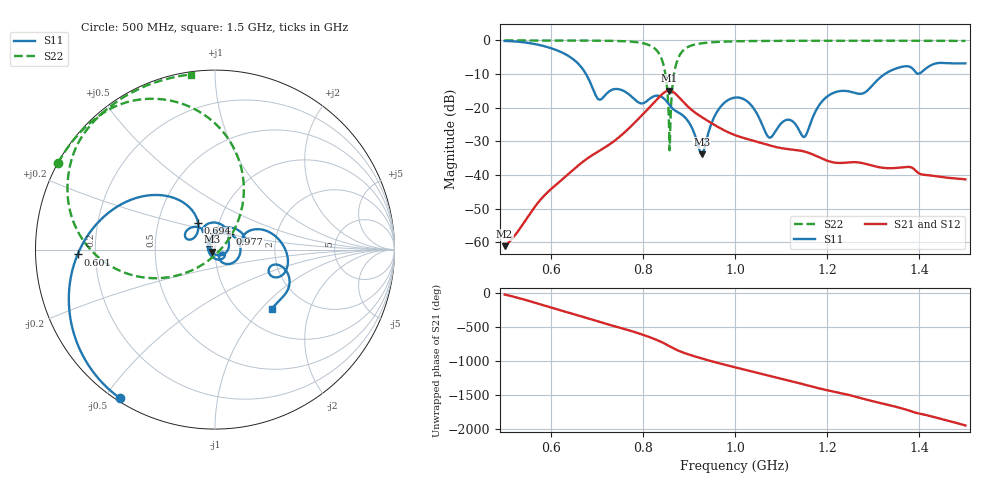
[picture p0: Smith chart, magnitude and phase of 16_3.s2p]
! TOUCHSTONE file generated by CST MICROWAVE STUDIO
! Date and time: Fri Oct  2 16:38:43 2020
! Project name: Scenario_1_Free_Space_out_of_line.cst
! Parameters = {Lambda=346.42; Step_1=17.321; dy1=87.525; dx1=520; L_HA=400; MT=2.54; Rad_Dielectric=30; Rad_Lower=7.3; Rad_Upper=30; a_HA=580; a_WG=246; b_HA=500; b_WG=121; c_HA=0; c_WG=187; d_feed=85; h_feed=15; h_lower=18; h_upper=40}
! Header version: 2018
! Port assignment regex: !\s*Touchstone port\s*([0-9]+)\s*=\s*(CST MWS port|CST DS port)\s*([0-9]+|Zmin|Zmax)\s*\(\"(.*)\"\)(\s*mode\s*([0-9]+))?.*
! Touchstone port assignment:
! Touchstone port 1 = CST MWS port 1 ("")
! Touchstone port 2 = CST MWS port 2 ("")
# GHz S DB R 50
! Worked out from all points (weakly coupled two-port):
!   1003 points, 500 MHz to 1.5 GHz, reference 50 ohm
!   highest |S21| = -14.90 dB at 857 MHz (marker M1); lowest = -61.1 dB at 500 MHz (marker M2)
!   lowest |S11| = -33.9 dB at 928 MHz (marker M3), VSWR 1.04, Z = 48.4 - j1.13 ohm
!   |S11| at or under -10 dB: 676.7 MHz to 1.325 GHz (648.3 MHz wide, 64.8 % of centre)
!   |S22| runs from -32.6 to 0.0 dB; largest |S21 - S12| = 2.9e-05
!   S11 on the Smith chart (normalised r, x): 500 MHz: 0.01, -0.55; 601 MHz: 0.13, -0.02; 694 MHz: 0.80, +0.24; 977 MHz: 1.16, +0.20; 1.5 GHz: 1.38, -1.14
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0.5  -0.15 -122.6  -61.12 -20.7  -61.12 -20.7  -0.01 151.1
0.601  -2.31 -178.0  -44.14 145.3  -44.14 145.3  -0.02 144.0
0.667  -8.04 131.4  -36.35 15.1  -36.35 15.1  -0.04 138.3
0.694  -15.15 122.6  -33.77 -41.3  -33.77 -41.3  -0.07 135.4
0.782  -17.49 122.1  -24.46 145.9  -24.46 145.9  -0.45 119.3
0.834  -16.44 89.8  -17.04 17.8  -17.04 17.8  -3.65 86.1
0.847  -17.42 64.9  -15.41 -24.2  -15.41 -24.2  -8.55 64.5
0.857  -19.04 48.3  -14.90 -60.5  -14.90 -60.5  -26.22 20.9
0.868  -20.65 35.7  -15.52 -100.2  -15.52 -100.2  -9.69 -151.3
0.879  -21.55 21.3  -16.97 -134.7  -16.97 -134.7  -4.62 -171.0
0.928  -33.86 -144.9  -22.80 115.4  -22.80 115.4  -0.85 154.7
0.977  -18.51 45.6  -26.73 24.2  -26.73 24.2  -0.34 143.6
1  -16.98 5.3  -28.13 -14.8  -28.13 -14.8  -0.25 140.1
1.035  -19.22 -47.3  -29.59 -73.6  -29.59 -73.6  -0.18 135.9
1.075  -28.88 -40.7  -31.17 -141.5  -31.17 -141.5  -0.14 131.9
1.115  -23.54 -41.9  -32.29 153.1  -32.29 153.1  -0.11 128.3
1.151  -28.63 -166.1  -33.02 89.1  -33.03 89.1  -0.10 125.4
1.167  -23.47 117.8  -33.77 59.9  -33.77 59.9  -0.10 124.1
1.205  -16.20 51.2  -35.96 -0.6  -35.96 -0.6  -0.08 121.2
1.278  -15.71 21.7  -36.49 -119.5  -36.49 -119.5  -0.08 115.6
1.334  -9.26 12.6  -37.96 147.3  -37.96 147.3  -0.09 111.4
1.5  -6.81 -46.1  -41.29 -153.7  -41.29 -153.9  -0.14 97.8
